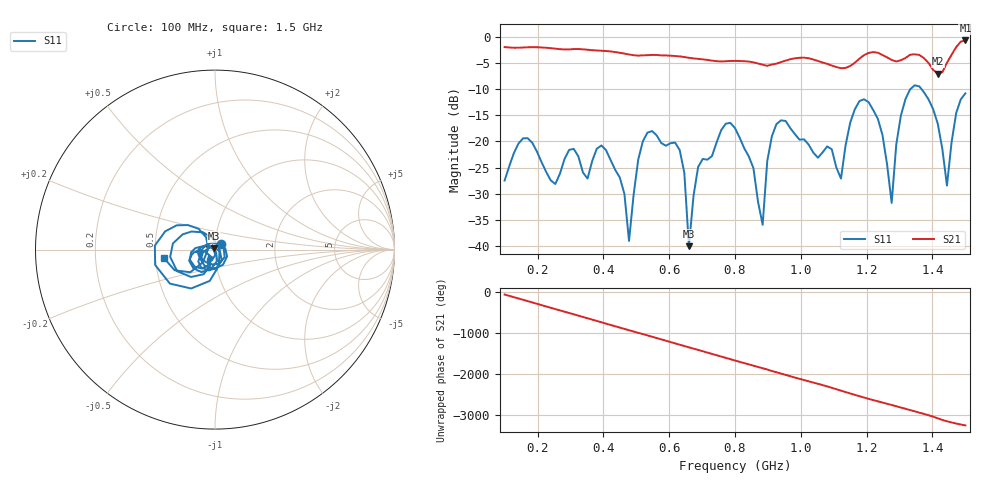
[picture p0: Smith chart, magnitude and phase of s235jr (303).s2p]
! NanoVNA-App
! Date: 2025-09-25 15:06:31
! Start: 100MHz Stop: 1,5GHz Points: 101
! S-Parameter data: F S11 S21 S12 S22
# Hz S RI R 50
!  Frequency  S11_Real  S11_Imag  S21_Real  S21_Imag  S12_Real  S12_Imag  S22_Real  S22_Imag
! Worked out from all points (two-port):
!   101 points, 100 MHz to 1.5 GHz, reference 50 ohm
!   highest |S21| = -0.70 dB at 1.5 GHz (marker M1); lowest = -7.0 dB at 1.416 GHz (marker M2)
!   |S21| within 3 dB of the highest: start of sweep to 623.5 MHz; 1.188 GHz to 1.255 GHz (66.82 MHz wide, 5.47 % of centre)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
!   lowest |S11| = -40.0 dB at 660 MHz (marker M3), VSWR 1.02, Z = 49.2 + j0.626 ohm
!   |S11| at or under -10 dB: start of sweep to 1.333 GHz; 1.367 GHz to end of sweep
!   S12 and S22 are empty: the file has one direction only
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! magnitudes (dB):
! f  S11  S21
! 100 MHz  -27.5  -2.0
! 156 MHz  -19.4  -2.0
! 338 MHz  -25.9  -2.4
! 408 MHz  -21.6  -2.7
! 478 MHz  -39.0  -3.4
! 520 MHz  -20.0  -3.5
! 576 MHz  -20.3  -3.5
! 632 MHz  -21.6  -3.7
! 660 MHz  -40.0  -4.0
! 688 MHz  -24.9  -4.2
! 800 MHz  -17.5  -4.6
! 884 MHz  -35.9  -5.3
! 926 MHz  -16.7  -5.1
! 1.038 GHz  -22.1  -4.3
! 1.122 GHz  -27.1  -6.0
! 1.192 GHz  -11.9  -3.5
! 1.248 GHz  -18.8  -3.5
! 1.276 GHz  -31.8  -4.4
! 1.332 GHz  -10.0  -3.4
! 1.416 GHz  -16.6  -7.0
! 1.444 GHz  -28.4  -5.0
! 1.5 GHz  -10.8  -0.7
